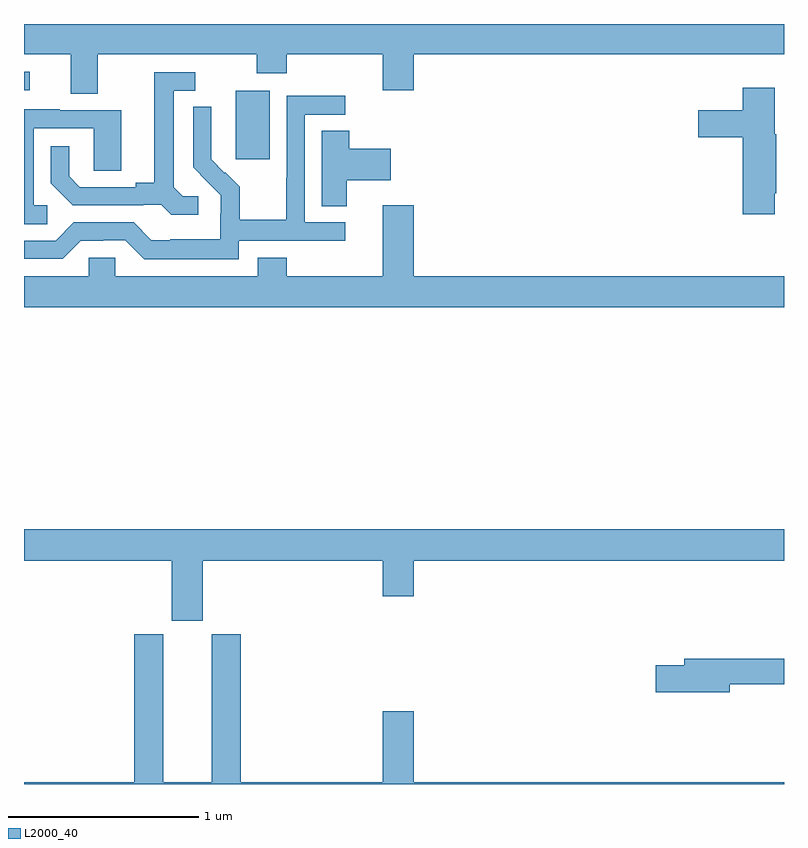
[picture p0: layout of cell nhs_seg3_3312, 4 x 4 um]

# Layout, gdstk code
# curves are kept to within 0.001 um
import gdstk
lib = gdstk.Library(unit=1e-6, precision=1e-09)
def R(c, l, rs):  # rectangles x0, y0, x1, y1
    for r in rs: c.add(gdstk.rectangle(r[:2], r[2:], *l))
def P(c, l, *ps):  # polygons
    for p in ps: c.add(gdstk.Polygon(p, *l))
L2000_40 = (2000, 40)

nhs_seg3_3312 = lib.new_cell('nhs_seg3_3312')
R(nhs_seg3_3312, L2000_40, [(284.114,709.689,284.293,710.05), (283,710.052,283.03,710.148)])
P(nhs_seg3_3312, L2000_40, [(283.387,710.24),(284.224,710.24),(284.224,710.141),(284.384,710.141),(284.384,710.24),(284.888,710.24),(284.888,710.052),(285.052,710.052),(285.052,710.24),(287,710.24),(287,710.4),(283,710.4),(283,710.24),(283.247,710.24),(283.247,710.032),(283.387,710.032)],
  [(283.918,709.494),(283.836,709.494),(283.789,709.541),(283.789,710.049),(283.9,710.049),(283.9,710.145),(283.685,710.145),(283.685,709.565),(283.589,709.565),(283.589,709.542),(283.294,709.542),(283.237,709.599),(283.237,709.756),(283.14,709.756),(283.14,709.562),(283.256,709.446),(283.628,709.446),(283.628,709.449),(283.722,709.449),(283.774,709.397),(283.918,709.397)],
  [(286.951,709.51),(286.959,709.51),(286.959,709.821),(286.951,709.821),(286.951,710.065),(286.784,710.065),(286.784,709.947),(286.548,709.947),(286.548,709.805),(286.784,709.805),(286.784,709.398),(286.951,709.398)],
  [(284.13,709.26),(284.692,709.26),(284.692,709.356),(284.478,709.356),(284.478,709.923),(284.692,709.923),(284.692,710.022),(284.382,710.022),(284.382,709.592),(284.38,709.592),(284.38,709.369),(284.135,709.369),(284.135,709.543),(284.058,709.62),(284.055,709.617),(283.985,709.688),(283.986,709.964),(283.89,709.964),(283.89,709.646),(284.036,709.498),(284.036,709.401),(284.034,709.401),(284.034,709.267),(283.771,709.267),(283.771,709.263),(283.671,709.263),(283.578,709.356),(283.263,709.356),(283.167,709.26),(283,709.26),(283,709.164),(283.203,709.164),(283.299,709.26),(283.418,709.26),(283.418,709.263),(283.533,709.263),(283.633,709.163),(284.13,709.163)],
  [(283.123,709.446),(283.05,709.446),(283.05,709.851),(283.368,709.851),(283.368,709.627),(283.513,709.627),(283.513,709.947),(283.189,709.947),(283.189,709.951),(283,709.951),(283,709.345),(283.123,709.345)],
  [(284.698,709.577),(284.929,709.577),(284.929,709.743),(284.711,709.743),(284.711,709.838),(284.567,709.838),(284.567,709.441),(284.698,709.441)],
  [(287,709.072),(285.052,709.072),(285.052,709.447),(284.888,709.447),(284.888,709.072),(284.384,709.072),(284.384,709.171),(284.231,709.171),(284.231,709.072),(283.479,709.072),(283.479,709.17),(283.341,709.17),(283.341,709.072),(283,709.072),(283,708.908),(287,708.908)],
  [(283.942,707.576),(284.888,707.576),(284.888,707.388),(285.052,707.388),(285.052,707.576),(287,707.576),(287,707.74),(283,707.74),(283,707.576),(283.778,707.576),(283.778,707.259),(283.942,707.259)],
  [(287,706.408),(285.052,706.408),(285.052,706.783),(284.888,706.783),(284.888,706.408),(284.141,706.408),(284.141,707.187),(283.988,707.187),(283.988,706.408),(283.732,706.408),(283.732,707.187),(283.58,707.187),(283.58,706.408),(283,706.408),(283,706.4),(287,706.4)],
  [(286.714,706.924),(287,706.924),(287,707.06),(286.475,707.06),(286.475,707.024),(286.326,707.024),(286.326,706.882),(286.714,706.882)])

lib.write_gds('nhs_seg3_3312.gds')
